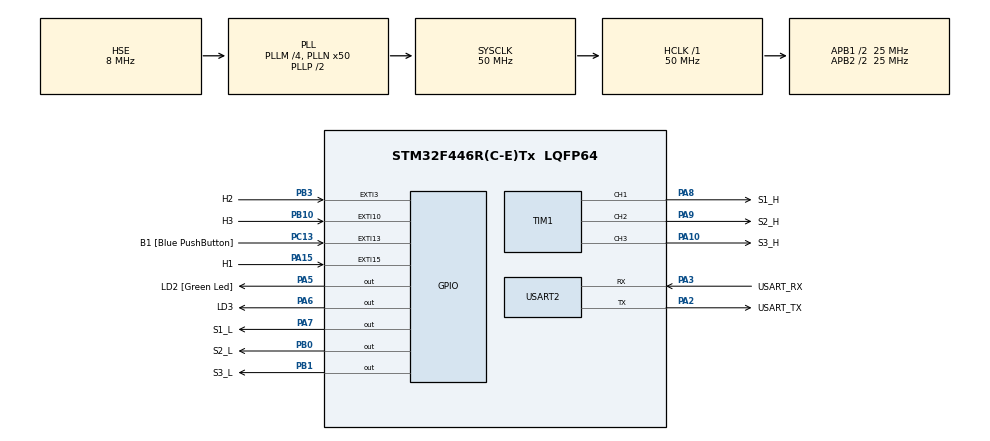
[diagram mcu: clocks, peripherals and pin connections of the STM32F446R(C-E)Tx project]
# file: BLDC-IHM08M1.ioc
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Mcu.Family=STM32F4
Mcu.Name=STM32F446R(C-E)Tx
Mcu.Package=LQFP64
NVIC.EXTI15_10_IRQn=true\:0\:0\:false\:false\:true\:true\:true\:true
NVIC.EXTI3_IRQn=true\:0\:0\:false\:false\:true\:true\:true\:true
NVIC.PriorityGroup=NVIC_PRIORITYGROUP_0
NVIC.TIM7_IRQn=true\:0\:0\:false\:false\:true\:true\:true\:true
PA10.GPIO_Label=S3_H
PA10.Signal=S_TIM1_CH3
PA13.GPIO_Label=TMS
PA13.Mode=Serial_Wire
PA13.Signal=SYS_JTMS-SWDIO
PA14.GPIO_Label=TCK
PA14.Mode=Serial_Wire
PA14.Signal=SYS_JTCK-SWCLK
PA15.GPIO_Label=H1
PA15.GPIO_ModeDefaultEXTI=GPIO_MODE_IT_RISING_FALLING
PA15.GPIO_PuPd=GPIO_PULLUP
PA15.Signal=GPXTI15
PA2.GPIO_Label=USART_TX
PA2.Mode=Asynchronous
PA2.Signal=USART2_TX
PA3.GPIO_Label=USART_RX
PA3.Mode=Asynchronous
PA3.Signal=USART2_RX
PA5.GPIO_Label=LD2 [Green Led]
PA5.Signal=GPIO_Output
PA6.GPIO_Label=LD3
PA6.Signal=GPIO_Output
PA7.GPIO_Label=S1_L
PA7.GPIO_PuPd=GPIO_PULLDOWN
PA7.Signal=GPIO_Output
PA8.GPIO_Label=S1_H
PA8.Signal=S_TIM1_CH1
PA9.GPIO_Label=S2_H
PA9.Signal=S_TIM1_CH2
PB0.GPIO_Label=S2_L
PB0.GPIO_PuPd=GPIO_PULLDOWN
PB0.Signal=GPIO_Output
PB1.GPIO_Label=S3_L
PB1.GPIO_PuPd=GPIO_PULLDOWN
PB1.Signal=GPIO_Output
PB10.GPIO_Label=H3
PB10.GPIO_ModeDefaultEXTI=GPIO_MODE_IT_RISING_FALLING
PB10.GPIO_PuPd=GPIO_PULLUP
PB10.Signal=GPXTI10
PB3.GPIO_Label=H2
PB3.GPIO_ModeDefaultEXTI=GPIO_MODE_IT_RISING_FALLING
PB3.GPIO_PuPd=GPIO_PULLUP
PB3.Signal=GPXTI3
PC13.GPIO_Label=B1 [Blue PushButton]
PC13.GPIO_ModeDefaultEXTI=GPIO_MODE_IT_FALLING
PC13.Signal=GPXTI13
PC14-OSC32_IN.Mode=LSE-External-Oscillator
PC14-OSC32_IN.Signal=RCC_OSC32_IN
PC15-OSC32_OUT.Mode=LSE-External-Oscillator
PC15-OSC32_OUT.Signal=RCC_OSC32_OUT
PH0-OSC_IN.Mode=HSE-External-Oscillator
PH0-OSC_IN.Signal=RCC_OSC_IN
PH1-OSC_OUT.Mode=HSE-External-Oscillator
PH1-OSC_OUT.Signal=RCC_OSC_OUT
ProjectManager.HeapSize=0x200
ProjectManager.StackSize=0x400
ProjectManager.TargetToolchain=STM32CubeIDE
RCC.48MHZClocksFreq_Value=84000000
RCC.AHBFreq_Value=50000000
RCC.APB1CLKDivider=RCC_HCLK_DIV2
RCC.APB1Freq_Value=25000000
RCC.APB1TimFreq_Value=50000000
RCC.APB2CLKDivider=RCC_HCLK_DIV2
RCC.APB2Freq_Value=25000000
RCC.APB2TimFreq_Value=50000000
RCC.CortexFreq_Value=50000000
RCC.FLatency-AdvancedSettings=FLASH_LATENCY_1
RCC.HCLKFreq_Value=50000000
RCC.HSE_VALUE=8000000
RCC.HSI_VALUE=16000000
RCC.PLLM=4
RCC.PLLN=50
RCC.PLLSourceVirtual=RCC_PLLSOURCE_HSE
RCC.RCC_RTC_Clock_SourceVirtual=RCC_RTCCLKSOURCE_LSE
RCC.SYSCLKFreq_VALUE=50000000
RCC.SYSCLKSource=RCC_SYSCLKSOURCE_PLLCLK
RCC.USBFreq_Value=50000000
RCC.VCOOutputFreq_Value=100000000
SH.S_TIM1_CH1.0=TIM1_CH1,Output Compare1 CH1
SH.S_TIM1_CH2.0=TIM1_CH2,Output Compare2 CH2
SH.S_TIM1_CH3.0=TIM1_CH3,Output Compare3 CH3
TIM1.Channel-Output\ Compare1\ CH1=TIM_CHANNEL_1
TIM1.Channel-Output\ Compare2\ CH2=TIM_CHANNEL_2
TIM1.Channel-Output\ Compare3\ CH3=TIM_CHANNEL_3
TIM3.Prescaler=8999
TIM7.AutoReloadPreload=TIM_AUTORELOAD_PRELOAD_ENABLE
TIM7.Period=44999
TIM7.Prescaler=1
USART2.VirtualMode=VM_ASYNC
VP_RTC_VS_RTC_Activate.Mode=RTC_Enabled
VP_TIM1_VS_ClockSourceINT.Mode=Internal
VP_TIM3_VS_ClockSourceINT.Mode=Internal
VP_TIM7_VS_ClockSourceINT.Mode=Enable_Timer
board=NUCLEO-F446RE

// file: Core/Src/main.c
/* USER CODE BEGIN Header */
/**
  ******************************************************************************
  * @file           : main.c
  * @brief          : Main program body
  ******************************************************************************
  * @attention
  *
  * <h2><center>&copy; Copyright (c) 2020 STMicroelectronics.
  * All rights reserved.</center></h2>
  *
  * This software component is licensed by ST under BSD 3-Clause license,
  * the "License"; You may not use this file except in compliance with the
  * License. You may obtain a copy of the License at:
  *                        opensource.org/licenses/BSD-3-Clause
  *
  ******************************************************************************
  */
/* USER CODE END Header */
#include "main.h"
#include "rtc.h"
#include "tim.h"
#include "usart.h"
#include "gpio.h"

/* USER CODE BEGIN Includes */

#include "debug.h"
#include "globals.h"
#include "six_step.h"
#include <stdbool.h>

/* USER CODE END Includes */

/* USER CODE BEGIN PD */
int __io_putchar(int ch)
{
    if (ch == '\n') {
        uint8_t ch2 = '\r';
        HAL_UART_Transmit(&huart2, &ch2, 1, HAL_MAX_DELAY);
    }

    HAL_UART_Transmit(&huart2, (uint8_t*)&ch, 1, HAL_MAX_DELAY);
    return 1;
}
/*bool is_button_pressed(void)
{
  if (HAL_GPIO_ReadPin(B1_GPIO_Port, B1_Pin) == GPIO_PIN_RESET) {
    return true;
  } else {
    return false;
  }
}*/
#define LINE_MAX_LENGTH	80

static char line_buffer[LINE_MAX_LENGTH + 1];
static uint32_t line_length;

void line_append(uint8_t value)
{
	if (value == '\r' || value == '\n') {
		// odebraliśmy znak końca linii
		if (line_length > 0) {
			// jeśli bufor nie jest pusty to dodajemy 0 na końcu linii
			line_buffer[line_length] = '\0';
			// przetwarzamy dane
			//printf("Otrzymano: %s\n", line_buffer);
			if (strcmp(line_buffer, "on") == 0) {
				HAL_GPIO_WritePin(LD2_GPIO_Port, LD2_Pin, GPIO_PIN_SET);
				printf("LD2 została włączona\n");
			} else if (strcmp(line_buffer, "off") == 0) {
				HAL_GPIO_WritePin(LD2_GPIO_Port, LD2_Pin, GPIO_PIN_RESET);
				printf("LD2 została wyłączona\n");
			} else if (strcmp(line_buffer, "hall1") == 0) {
				uint8_t val_H1 = HAL_GPIO_ReadPin(H1_GPIO_Port, H1_Pin);
				printf("Value of hal 1 sensor %d \n",val_H1);
			} else {
				printf("Nieznane polecenie: %s\n", line_buffer);
			}
			// zaczynamy zbieranie danych od nowa
			line_length = 0;
		}
	}
	else {
		if (line_length >= LINE_MAX_LENGTH) {
			// za dużo danych, usuwamy wszystko co odebraliśmy dotychczas
			line_length = 0;
		}
		// dopisujemy wartość do bufora
		line_buffer[line_length++] = value;
	}
}
/* USER CODE END PD */

void SystemClock_Config(void);

int main(void)
{

  /* MCU Configuration--------------------------------------------------------*/

  /* Reset of all peripherals, Initializes the Flash interface and the Systick. */
  HAL_Init();

  /* USER CODE BEGIN Init */
  void HAL_GPIO_EXTI_Callback(uint16_t GPIO_Pin){
	  HAL_GPIO_WritePin(B1_GPIO_Port, B1_Pin, HAL_GPIO_ReadPin(LD3_GPIO_Port, LD3_Pin));
  }
  /* USER CODE END Init */

  /* Configure the system clock */
  SystemClock_Config();

  /* Initialize all configured peripherals */
  MX_GPIO_Init();
  MX_USART2_UART_Init();
  MX_TIM7_Init();
  MX_TIM3_Init();
  MX_TIM1_Init();
  MX_RTC_Init();
  /* USER CODE BEGIN 2 */

  // welcome message
  HAL_UART_Transmit(&huart2, (uint8_t *)WELCOME_MSG, strlen(WELCOME_MSG), HAL_MAX_DELAY);

  // init globals
//  glob_state = 1;
//  SS_Commutate_Type5(glob_state);
  uint8_t val_HS;
  uint8_t val_H1 = HAL_GPIO_ReadPin(H1_GPIO_Port, H1_Pin);
  uint8_t val_H2 = HAL_GPIO_ReadPin(H2_GPIO_Port, H2_Pin);
  uint8_t val_H3 = HAL_GPIO_ReadPin(H3_GPIO_Port, H3_Pin);

  uint8_t val_HS_OLD;
  uint8_t counter = 0;
  uint8_t revolution;
  uint8_t delay=5;

  bool refresh = false;

  HAL_SYSTICK_Callback();
  // start timers
//  HAL_TIM_Base_Start_IT(&htim6);
  HAL_TIM_Base_Start_IT(&htim7);

  RTC_DateTypeDef today;
  today.Year = 22;
  today.Month = 03;
  today.Date = 24;
  today.WeekDay = RTC_WEEKDAY_TUESDAY;
  HAL_RTC_SetDate(&hrtc, &today, RTC_FORMAT_BIN);
  /* USER CODE END 2 */

  /* Infinite loop */
  /* USER CODE BEGIN WHILE */
#define SIMPLE_TEST

  while (1)
  {
	  //printf("systick = %lu\n", HAL_GetTick());
	  /*HAL_StatusTypeDef HAL_RTC_GetTime(RTC_HandleTypeDef *hrtc, RTC_TimeTypeDef *sTime, uint32_t Format);
	  HAL_StatusTypeDef HAL_RTC_GetDate(RTC_HandleTypeDef *hrtc, RTC_DateTypeDef *sDate, uint32_t Format);*/

	/*  RTC_TimeTypeDef time;
	  RTC_DateTypeDef date;

	  if (is_button_pressed()) {
	  	// ważne: nieużywane pola muszą być wyzerowane
	  	RTC_TimeTypeDef new_time = {0};

	  	// czekamy na zwolnienie przycisku
	  	while (is_button_pressed()) {}

	  	// ustawiamy godzinę 07:45:00
	  	new_time.Hours = 13;
	  	new_time.Minutes = 30;
	  	new_time.Seconds = 0;
	  	HAL_RTC_SetTime(&hrtc, &new_time, RTC_FORMAT_BIN);
	  }

	  HAL_RTC_GetTime(&hrtc, &time, RTC_FORMAT_BIN);
	  HAL_RTC_GetDate(&hrtc, &date, RTC_FORMAT_BIN);

	  printf("RTC: %04d-%02d-%02d, %02d:%02d:%02d\n", 2000 + date.Year, date.Month, date.Date, time.Hours, time.Minutes, time.Seconds);
	  HAL_Delay(200);*/

	 /* int i;

	  //for (i = 0; i < 10; i++)
		if (is_button_pressed()){
	    HAL_GPIO_TogglePin(LD2_GPIO_Port, LD2_Pin);
	    HAL_Delay(100);
	  }*/
	  HAL_GPIO_WritePin(S1_H_GPIO_Port, S1_H_Pin, GPIO_PIN_RESET);
	  HAL_GPIO_WritePin(S1_L_GPIO_Port, S1_L_Pin, GPIO_PIN_RESET);
	  HAL_GPIO_WritePin(S2_H_GPIO_Port, S2_H_Pin, GPIO_PIN_RESET);
	  HAL_GPIO_WritePin(S2_L_GPIO_Port, S2_L_Pin, GPIO_PIN_RESET);
	  HAL_GPIO_WritePin(S3_H_GPIO_Port, S3_H_Pin, GPIO_PIN_RESET);
	  HAL_GPIO_WritePin(S3_L_GPIO_Port, S3_L_Pin, GPIO_PIN_RESET);
	  //HAL_Delay(100);
	/*  if(val_HS>3)
		  val_HS=val_HS-3;
*/
	  val_H1 = HAL_GPIO_ReadPin(H1_GPIO_Port, H1_Pin);
	  val_H2 = HAL_GPIO_ReadPin(H2_GPIO_Port, H2_Pin);
	  val_H3 = HAL_GPIO_ReadPin(H3_GPIO_Port, H3_Pin);
	  val_HS = HS_Calculate_State();
	  if(val_HS == 6 && val_HS != val_HS_OLD && val_HS != val_HS_OLD-1)
	  {
		  counter++;
	  		  }
	  if(val_HS != val_HS_OLD && val_HS != val_HS_OLD-1){
		  refresh = true;
	  }
	  switch (val_HS)
	  {
	  case 1:
	  case 2:
		  HAL_GPIO_WritePin(S2_H_GPIO_Port, S2_H_Pin, GPIO_PIN_SET); //do HS 2 od HS 6,1 i 3,4 // 5 opposite
		  HAL_Delay(delay);
		  HAL_GPIO_WritePin(S2_L_GPIO_Port, S2_L_Pin, GPIO_PIN_SET);
		  HAL_Delay(delay);
	 case 3:
	 case 4:
		  HAL_GPIO_WritePin(S1_H_GPIO_Port, S1_H_Pin, GPIO_PIN_SET); //do HS 4 od HS 5,6 i 2,3 // 1 opposite
		  HAL_Delay(delay);
		  HAL_GPIO_WritePin(S1_L_GPIO_Port, S1_L_Pin, GPIO_PIN_SET);
		  HAL_Delay(delay);

	 case 5:
		  HAL_GPIO_WritePin(S3_H_GPIO_Port, S3_H_Pin, GPIO_PIN_SET); // do HS 6 od HS 4,5 i 1,2 // 3 opposite
	  	  HAL_Delay(delay);
		  HAL_GPIO_WritePin(S3_L_GPIO_Port, S3_L_Pin, GPIO_PIN_SET);
		  HAL_Delay(delay);
	 case 6:
		  HAL_GPIO_WritePin(S2_H_GPIO_Port, S2_H_Pin, GPIO_PIN_SET); //do HS 2 od HS 6,1 i 3,4 // 5 opposite
		  HAL_Delay(delay);
		  HAL_GPIO_WritePin(S2_L_GPIO_Port, S2_L_Pin, GPIO_PIN_SET);
		  HAL_Delay(delay);
	  //default:
	  }
	  HAL_Delay(delay);

		  if(refresh)
		  {
			  val_HS_OLD = val_HS;
			  revolution = counter/15;
			  printf("Sensor 1: %d   Sensor 2: %d   Sensor3: %d    HS: %d    Counter: %d  Revolution: %d\n ",val_H1,val_H2,val_H3,val_HS, counter, revolution);
			  refresh = false;
		  }

    /* USER CODE END WHILE */

    /* USER CODE BEGIN 3 */
/*
#ifdef SIMPLE_TEST
	  for(uint8_t n = 0; n < 3; n++)
	  {
		  // reset all
		  HAL_GPIO_WritePin(S1_H_GPIO_Port, S1_H_Pin, GPIO_PIN_RESET);
		  HAL_GPIO_WritePin(S1_L_GPIO_Port, S1_L_Pin, GPIO_PIN_RESET);
		  HAL_GPIO_WritePin(S2_H_GPIO_Port, S2_H_Pin, GPIO_PIN_RESET);
		  HAL_GPIO_WritePin(S2_L_GPIO_Port, S2_L_Pin, GPIO_PIN_RESET);
		  HAL_GPIO_WritePin(S3_H_GPIO_Port, S3_H_Pin, GPIO_PIN_RESET);
		  HAL_GPIO_WritePin(S3_L_GPIO_Port, S3_L_Pin, GPIO_PIN_RESET);

		  // then set according to index
		  switch (n)
		  {
			case 0:
				HAL_GPIO_WritePin(S1_H_GPIO_Port, S1_H_Pin, GPIO_PIN_SET);
				HAL_GPIO_WritePin(S1_L_GPIO_Port, S1_L_Pin, GPIO_PIN_SET);
				break;
			case 1:
				HAL_GPIO_WritePin(S2_H_GPIO_Port, S2_H_Pin, GPIO_PIN_SET);
				HAL_GPIO_WritePin(S2_L_GPIO_Port, S2_L_Pin, GPIO_PIN_SET);
				break;
			case 2:
				HAL_GPIO_WritePin(S3_H_GPIO_Port, S3_H_Pin, GPIO_PIN_SET);
				HAL_GPIO_WritePin(S3_L_GPIO_Port, S3_L_Pin, GPIO_PIN_SET);
				break;
			default:
				break;
		  }

		  HAL_Delay(1);
	  }
#endif
*/
 }
//  }
  /* USER CODE END 3 */
}

void SystemClock_Config(void)
{
  RCC_OscInitTypeDef RCC_OscInitStruct = {0};
  RCC_ClkInitTypeDef RCC_ClkInitStruct = {0};

  /** Configure the main internal regulator output voltage
  */
  __HAL_RCC_PWR_CLK_ENABLE();
  __HAL_PWR_VOLTAGESCALING_CONFIG(PWR_REGULATOR_VOLTAGE_SCALE3);

  /** Initializes the RCC Oscillators according to the specified parameters
  * in the RCC_OscInitTypeDef structure.
  */
  RCC_OscInitStruct.OscillatorType = RCC_OSCILLATORTYPE_HSE|RCC_OSCILLATORTYPE_LSE;
  RCC_OscInitStruct.HSEState = RCC_HSE_ON;
  RCC_OscInitStruct.LSEState = RCC_LSE_ON;
  RCC_OscInitStruct.PLL.PLLState = RCC_PLL_ON;
  RCC_OscInitStruct.PLL.PLLSource = RCC_PLLSOURCE_HSE;
  RCC_OscInitStruct.PLL.PLLM = 4;
  RCC_OscInitStruct.PLL.PLLN = 50;
  RCC_OscInitStruct.PLL.PLLP = RCC_PLLP_DIV2;
  RCC_OscInitStruct.PLL.PLLQ = 2;
  RCC_OscInitStruct.PLL.PLLR = 2;
  if (HAL_RCC_OscConfig(&RCC_OscInitStruct) != HAL_OK)
  {
    Error_Handler();
  }

  /** Initializes the CPU, AHB and APB buses clocks
  */
  RCC_ClkInitStruct.ClockType = RCC_CLOCKTYPE_HCLK|RCC_CLOCKTYPE_SYSCLK
                              |RCC_CLOCKTYPE_PCLK1|RCC_CLOCKTYPE_PCLK2;
  RCC_ClkInitStruct.SYSCLKSource = RCC_SYSCLKSOURCE_PLLCLK;
  RCC_ClkInitStruct.AHBCLKDivider = RCC_SYSCLK_DIV1;
  RCC_ClkInitStruct.APB1CLKDivider = RCC_HCLK_DIV2;
  RCC_ClkInitStruct.APB2CLKDivider = RCC_HCLK_DIV2;

  if (HAL_RCC_ClockConfig(&RCC_ClkInitStruct, FLASH_LATENCY_1) != HAL_OK)
  {
    Error_Handler();
  }
}

void Error_Handler(void)
{
  /* USER CODE BEGIN Error_Handler_Debug */
   //User can add his own implementation to report the HAL error return state

  /* USER CODE END Error_Handler_Debug */
}
